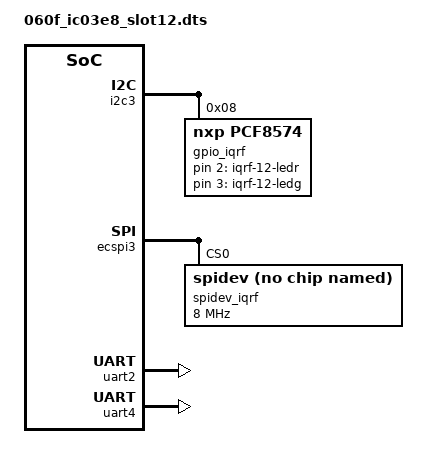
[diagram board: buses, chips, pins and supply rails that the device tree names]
/dts-v1/;


/plugin/;

/ {
	fragment@0 {
		target = <&i2c3>;
		__overlay__ {
			#address-cells = <1>;
			#size-cells = <0>;
			gpio_iqrf: pca9501@8 {
				compatible = "nxp,pcf8574";
				gpio-controller;
				#gpio-cells = <2>;
				reg = <8>;
				gpio-line-names = "SLOT12_IQRF_BTN",
					"SLOT12_IQRF_UART_EN",
					"SLOT12_IQRF_GW_LEDR",
					"SLOT12_IQRF_GW_LEDG",
					"SLOT12_IQRF_SPI_EN",
					"SLOT12_IQRF_I2C_EN",
					"SLOT12_IQRF_SPI_PGM_EN",
					"SLOT12_IQRF_TR_PWR_EN";
			};
		};
	};

	fragment@1 {
		target = <&ecspi3>;
		__overlay__ {
			status = "okay";
			#address-cells = <1>;
			#size-cells = <0>;

			spidev_iqrf: spi@0 {
				compatible = "rohm,dh2228fv";
				reg = <0>;
				status = "okay";
				spi-max-frequency = <8000000>;
			};
		};
	};

	fragment@2 {
		
		target = <&uart2>;
		__overlay__ {
			status = "okay";
		};

	};

	fragment@3 {
		
		target = <&uart4>;
		__overlay__ {
			status = "okay";
		};

	};

	fragment@4 {
		target-path = "/";
		__overlay__ {
			led_slot12 {
				compatible = "gpio-leds";
				iqrf-led@1 {
					label = "iqrf-12-ledr";
					gpios = <&gpio_iqrf 2 0>;
					default-state = "off";
					color = <1>;
				};
				iqrf-led@2 {
					label = "iqrf-12-ledg";
					gpios = <&gpio_iqrf 3 0>;
					default-state = "off";
					color = <2>;
				};
			};
		}; 
	};
};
